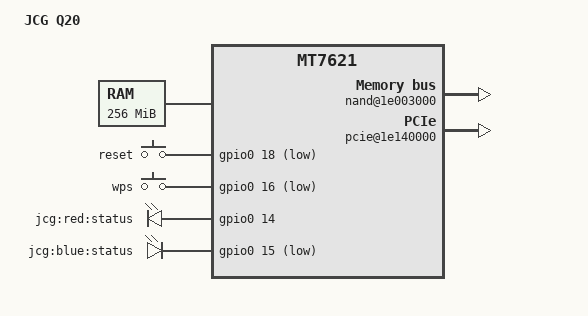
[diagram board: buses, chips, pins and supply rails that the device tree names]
/dts-v1/;

/include/ "mt7621.dtsi"

/ {
	compatible = "jcg,q20", "mediatek,mt7621-soc";
	model = "JCG Q20";

	memory@0 {
		device_type = "memory";
		reg = <0x0 0x10000000>;
	};

	chosen {
		bootargs = "console=ttyS0,115200";
	};

	palmbus@1E000000 {
		spi@b00 {
			status = "disabled";
		};
	};

	nand@1e003000 {
		status = "okay";

		/* Drop the generic SPI/NOR partition table inherited from
		 * mt7621.dtsi (uboot / uboot_env / factory / rootfs@140000):
		 * partition@0, @80000 and @100000 are overridden below, but
		 * the dtsi's rootfs@140000 would otherwise survive and
		 * overlap the real Factory partition. */
		/delete-node/ partition@140000;

		partition@0 {
			label = "Bootloader";
			reg = <0x0 0x80000>;
			read-only;
		};

		partition@80000 {
			label = "Config";
			reg = <0x80000 0x80000>;
		};

		factory: partition@100000 {
			label = "Factory";
			reg = <0x100000 0x80000>;
			read-only;
		};

		partition@180000 {
			label = "crash";
			reg = <0x180000 0x40000>;
		};

		partition@1c0000 {
			label = "crash_log";
			reg = <0x1c0000 0x40000>;
		};

		partition@200000 {
			label = "kernel";
			reg = <0x200000 0x400000>;
		};

		/* Leave the last 512 KiB unpartitioned: it holds the MediaTek
		 * factory bad block table and must not be overlapped by ubi. */
		partition@600000 {
			label = "ubi";
			reg = <0x600000 0x7980000>;
		};
	};

	pcie@1e140000 {
		status = "okay";

		pcie1 {
			mt76@0,0 {
				reg = <0x0000 0 0 0 0>;
				device_type = "pci";
				mediatek,mtd-eeprom = <&factory 0x0000>;
			};
		};
	};

	ethernet@1e100000 {
		mtd-mac-address = <&factory 0x3fff4>;
	};

	gpio-keys-polled {
		compatible = "gpio-keys-polled";
		#address-cells = <1>;
		#size-cells = <0>;
		poll-interval = <20>;

		reset {
			label = "reset";
			gpios = <&gpio0 18 1>;
			linux,code = <0x198>;
		};

		wps {
			label = "wps";
			gpios = <&gpio0 16 1>;
			linux,code = <0x211>;
		};
	};

	gpio-leds {
		compatible = "gpio-leds";

		status_red {
			label = "jcg:red:status";
			gpios = <&gpio0 14 0>;
		};

		status_blue {
			label = "jcg:blue:status";
			gpios = <&gpio0 15 1>;
		};
	};

	pinctrl {
		state_default: pinctrl0 {
			gpio {
				ralink,group = "jtag", "wdt";
				ralink,function = "gpio";
			};
		};
	};

	/* LAN uses switch ports 1 and 4; the WAN port is wired to gmac1
	 * on this board (upstream DTS: &gmac1 with phy-handle = phy0), so
	 * it cannot be reached through the mt7530 VLANs.  The 3.18 ralink
	 * ethernet driver registers a single MAC only - see the board
	 * notes in the commit message. */
};
